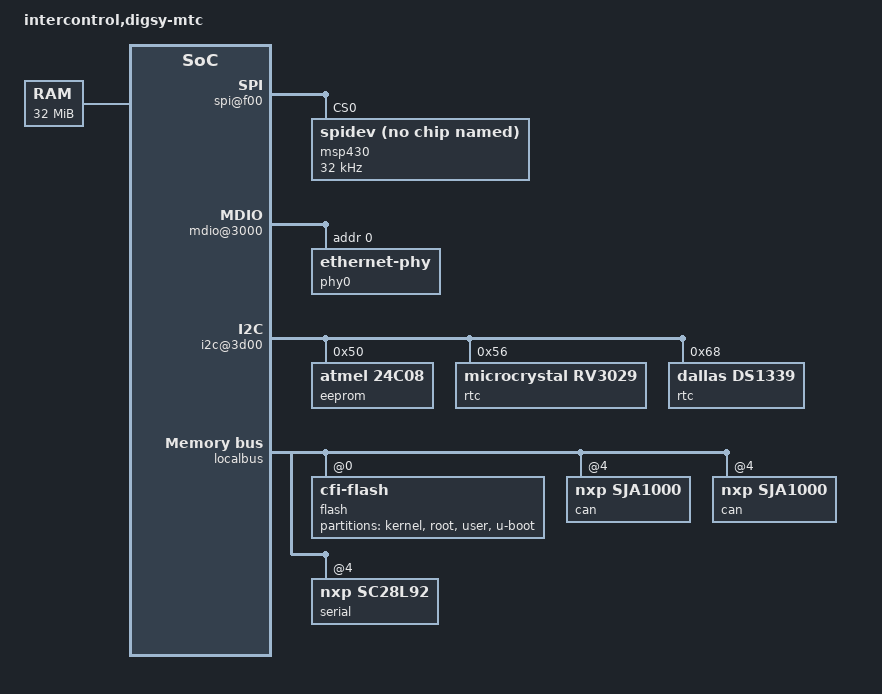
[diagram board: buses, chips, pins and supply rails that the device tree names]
/*
 * Digsy MTC board Device Tree Source
 *
 * Copyright (C) 2009 Semihalf
 *
 * Based on the CM5200 by M. Balakowicz
 *
 * This program is free software; you can redistribute  it and/or modify it
 * under  the terms of  the GNU General  Public License as published by the
 * Free Software Foundation;  either version 2 of the  License, or (at your
 * option) any later version.
 */

/include/ "mpc5200b.dtsi"

&gpt0 { gpio-controller; fsl,has-wdt; };
&gpt1 { gpio-controller; };

/ {
	model = "intercontrol,digsy-mtc";
	compatible = "intercontrol,digsy-mtc";

	memory {
		reg = <0x00000000 0x02000000>;	// 32MB
	};

	soc5200@f0000000 {
		rtc@800 {
			status = "disabled";
		};

		spi@f00 {
			msp430@0 {
				compatible = "spidev";
				spi-max-frequency = <32000>;
				reg = <0>;
			};
		};

		psc@2000 {		// PSC1
			status = "disabled";
		};

		psc@2200 {		// PSC2
			status = "disabled";
		};

		psc@2400 {		// PSC3
			status = "disabled";
		};

		psc@2600 {		// PSC4
			compatible = "fsl,mpc5200b-psc-uart","fsl,mpc5200-psc-uart";
		};

		psc@2800 {		// PSC5
			compatible = "fsl,mpc5200b-psc-uart","fsl,mpc5200-psc-uart";
		};

		psc@2c00 {		// PSC6
			status = "disabled";
		};

		ethernet@3000 {
			phy-handle = <&phy0>;
		};

		mdio@3000 {
			phy0: ethernet-phy@0 {
				reg = <0>;
			};
		};

		i2c@3d00 {
			eeprom@50 {
				compatible = "atmel,24c08";
				reg = <0x50>;
			};

			rtc@56 {
				compatible = "microcrystal,rv3029";
				reg = <0x56>;
			};

			rtc@68 {
				compatible = "dallas,ds1339";
				reg = <0x68>;
			};
		};

		i2c@3d40 {
			status = "disabled";
		};
	};

	pci@f0000d00 {
		interrupt-map-mask = <0xf800 0 0 7>;
		interrupt-map = <0xc000 0 0 1 &mpc5200_pic 0 0 3
				 0xc000 0 0 2 &mpc5200_pic 0 0 3
				 0xc000 0 0 3 &mpc5200_pic 0 0 3
				 0xc000 0 0 4 &mpc5200_pic 0 0 3>;
		clock-frequency = <0>; // From boot loader
		interrupts = <2 8 0 2 9 0 2 10 0>;
		bus-range = <0 0>;
		ranges = <0x42000000 0 0x80000000 0x80000000 0 0x10000000
			  0x02000000 0 0x90000000 0x90000000 0 0x10000000
			  0x01000000 0 0x00000000 0xa0000000 0 0x01000000>;
	};

	localbus {
		ranges = <0 0 0xff000000 0x1000000
			  4 0 0x60000000 0x0001000>;

		// 16-bit flash device at LocalPlus Bus CS0
		flash@0,0 {
			compatible = "cfi-flash";
			reg = <0 0 0x1000000>;
			bank-width = <2>;
			device-width = <2>;
			#size-cells = <1>;
			#address-cells = <1>;

			partition@0 {
				label = "kernel";
				reg = <0x0 0x00200000>;
			};
			partition@200000 {
				label = "root";
				reg = <0x00200000 0x00300000>;
			};
			partition@500000 {
				label = "user";
				reg = <0x00500000 0x00a00000>;
			};
			partition@f00000 {
				label = "u-boot";
				reg = <0x00f00000 0x100000>;
			};
		};

		can@4,0 {
			compatible = "nxp,sja1000";
			reg = <4 0x000 0x80>;
			nxp,external-clock-frequency = <24000000>;
			interrupts = <1 2 3>; // Level-low
		};

		can@4,100 {
			compatible = "nxp,sja1000";
			reg = <4 0x100 0x80>;
			nxp,external-clock-frequency = <24000000>;
			interrupts = <1 2 3>;  // Level-low
		};

		serial@4,200 {
			compatible = "nxp,sc28l92";
			reg = <4 0x200 0x10>;
			interrupts = <1 3 3>;
		};
	};
};
